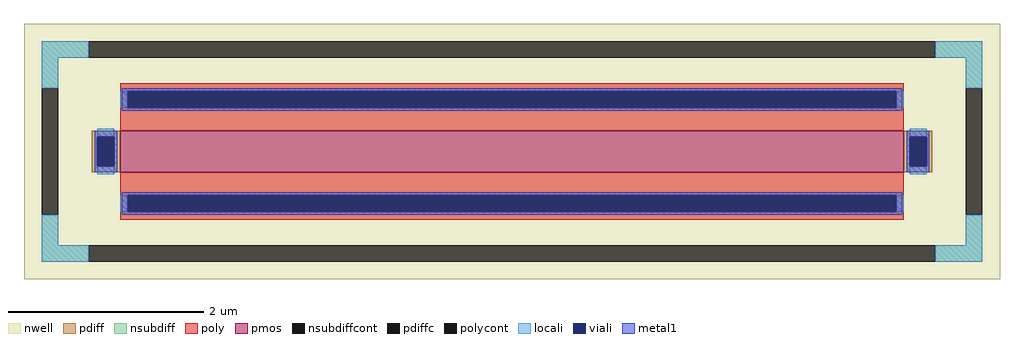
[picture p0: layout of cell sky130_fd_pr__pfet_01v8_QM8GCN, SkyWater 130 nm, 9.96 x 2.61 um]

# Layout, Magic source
magic
tech sky130A
magscale 1 2
<< nwell >>
rect -996 -261 996 261
<< pmos >>
rect -800 -42 800 42
<< pdiff >>
rect -858 30 -800 42
rect -858 -30 -846 30
rect -812 -30 -800 30
rect -858 -42 -800 -30
rect 800 30 858 42
rect 800 -30 812 30
rect 846 -30 858 30
rect 800 -42 858 -30
<< pdiffc >>
rect -846 -30 -812 30
rect 812 -30 846 30
<< nsubdiff >>
rect -960 191 -864 225
rect 864 191 960 225
rect -960 129 -926 191
rect 926 129 960 191
rect -960 -191 -926 -129
rect 926 -191 960 -129
rect -960 -225 -864 -191
rect 864 -225 960 -191
<< nsubdiffcont >>
rect -864 191 864 225
rect -960 -129 -926 129
rect 926 -129 960 129
rect -864 -225 864 -191
<< poly >>
rect -800 123 800 139
rect -800 89 -784 123
rect 784 89 800 123
rect -800 42 800 89
rect -800 -89 800 -42
rect -800 -123 -784 -89
rect 784 -123 800 -89
rect -800 -139 800 -123
<< polycont >>
rect -784 89 784 123
rect -784 -123 784 -89
<< locali >>
rect -960 191 -864 225
rect 864 191 960 225
rect -960 129 -926 191
rect 926 129 960 191
rect -800 89 -784 123
rect 784 89 800 123
rect -846 30 -812 46
rect -846 -46 -812 -30
rect 812 30 846 46
rect 812 -46 846 -30
rect -800 -123 -784 -89
rect 784 -123 800 -89
rect -960 -191 -926 -129
rect 926 -191 960 -129
rect -960 -225 -864 -191
rect 864 -225 960 -191
<< viali >>
rect -784 89 784 123
rect -846 -30 -812 30
rect 812 -30 846 30
rect -784 -123 784 -89
<< metal1 >>
rect -796 123 796 129
rect -796 89 -784 123
rect 784 89 796 123
rect -796 83 796 89
rect -852 30 -806 42
rect -852 -30 -846 30
rect -812 -30 -806 30
rect -852 -42 -806 -30
rect 806 30 852 42
rect 806 -30 812 30
rect 846 -30 852 30
rect 806 -42 852 -30
rect -796 -89 796 -83
rect -796 -123 -784 -89
rect 784 -123 796 -89
rect -796 -129 796 -123
<< properties >>
string FIXED_BBOX -943 -208 943 208
string gencell sky130_fd_pr__pfet_01v8
string library sky130
string parameters w 0.42 l 8.0 m 1 nf 1 diffcov 100 polycov 100 guard 1 glc 1 grc 1 gtc 1 gbc 1 tbcov 100 rlcov 100 topc 1 botc 1 poverlap 0 doverlap 1 lmin 0.15 wmin 0.42 compatible {sky130_fd_pr__pfet_01v8  sky130_fd_pr__pfet_01v8_lvt sky130_fd_pr__pfet_01v8_hvt  sky130_fd_pr__pfet_g5v0d10v5} full_metal 1 viasrc 100 viadrn 100 viagate 100 viagb 0 viagr 0 viagl 0 viagt 0
<< end >>
